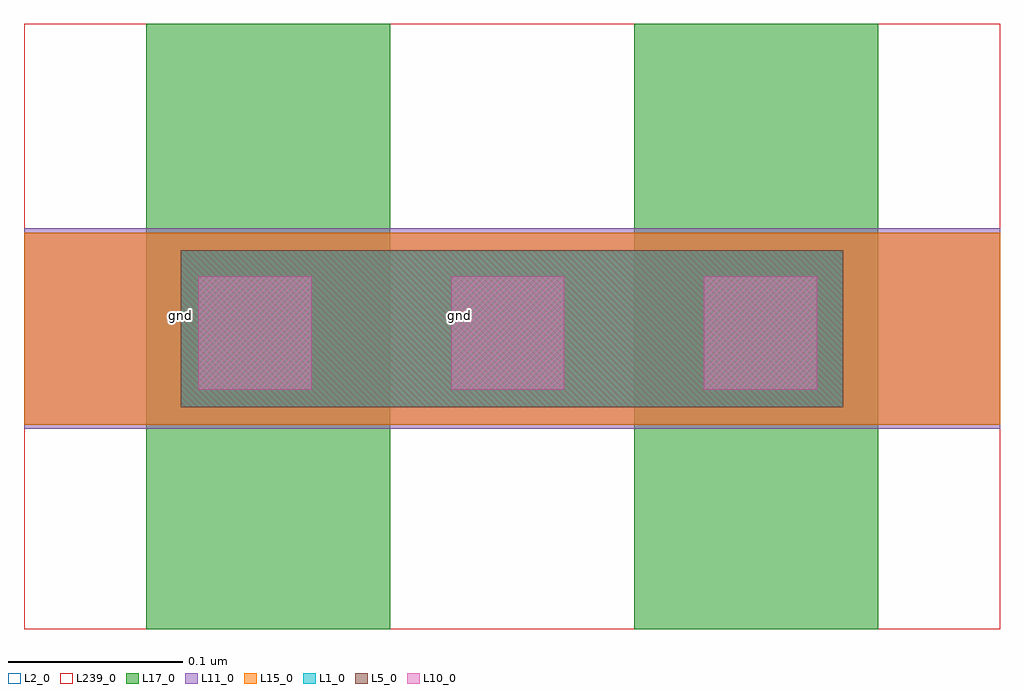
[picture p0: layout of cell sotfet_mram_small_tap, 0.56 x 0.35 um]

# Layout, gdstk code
import gdstk
lib = gdstk.Library(unit=1e-6, precision=5e-10)
def R(c, l, rs):  # rectangles x0, y0, x1, y1
    for r in rs: c.add(gdstk.rectangle(r[:2], r[2:], *l))
def A(c, l, x, y, w, h, nx, ny, dx, dy):  # array of equal rectangles
    R(c, l, [(x+i*dx, y+j*dy, x+i*dx+w, y+j*dy+h) for i in range(nx) for j in range(ny)])
L1_0 = (1, 0)
L2_0 = (2, 0)
L5_0 = (5, 0)
L10_0 = (10, 0)
L11_0 = (11, 0)
L15_0 = (15, 0)
L17_0 = (17, 0)
L239_0 = (239, 0)

sotfet_mram_small_tap = lib.new_cell('sotfet_mram_small_tap')
R(sotfet_mram_small_tap, L1_0, [(0.09,0.1275,0.47,0.2175)])
R(sotfet_mram_small_tap, L2_0, [(0,0,0.56,0.3475)])
R(sotfet_mram_small_tap, L5_0, [(0.09,0.1275,0.47,0.2175)])
A(sotfet_mram_small_tap, L10_0, 0.1, 0.1375, 0.065, 0.065, 3, 1, 0.145, 0)
R(sotfet_mram_small_tap, L11_0, [(0,0.115,0.56,0.23)])
R(sotfet_mram_small_tap, L15_0, [(0,0.1175,0.56,0.2275)])
R(sotfet_mram_small_tap, L17_0, [(0.07,0,0.21,0.3475), (0.35,0,0.49,0.3475)])
R(sotfet_mram_small_tap, L239_0, [(0,0,0.56,0.3475)])
sotfet_mram_small_tap.add(gdstk.Label('gnd', (0.09,0.18), layer=11, texttype=0))
sotfet_mram_small_tap.add(gdstk.Label('gnd', (0.25,0.18), layer=15, texttype=0))

lib.write_gds('sotfet_mram_small_tap.gds')
